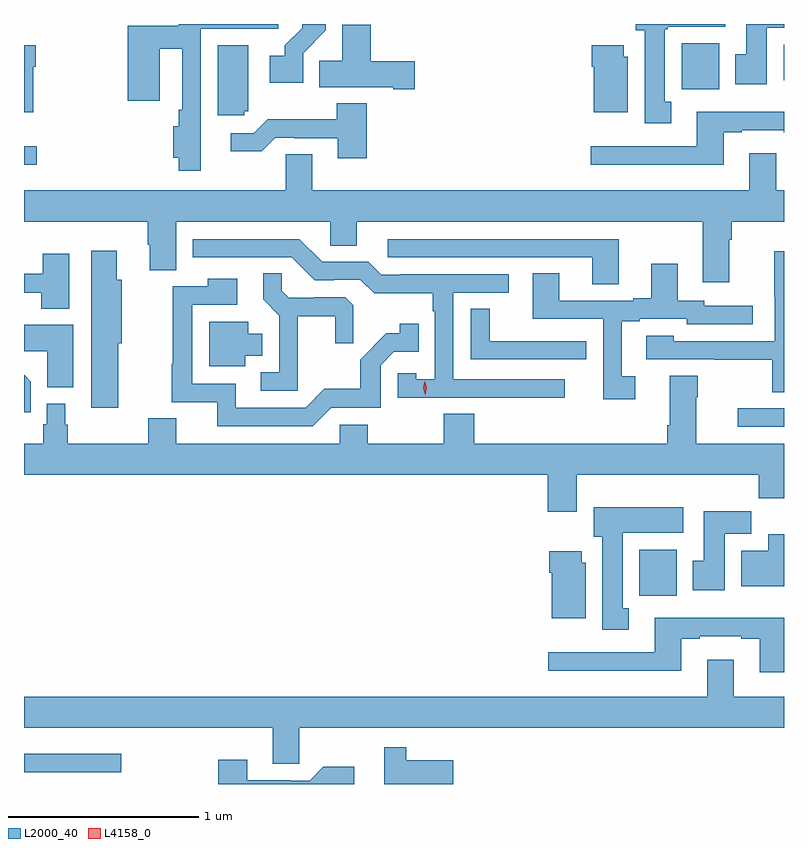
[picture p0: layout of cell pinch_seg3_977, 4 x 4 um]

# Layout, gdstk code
import gdstk
lib = gdstk.Library(unit=1e-6, precision=1e-09)
def R(c, l, rs):  # rectangles x0, y0, x1, y1
    for r in rs: c.add(gdstk.rectangle(r[:2], r[2:], *l))
def P(c, l, *ps):  # polygons
    for p in ps: c.add(gdstk.Polygon(p, *l))
L2000_40 = (2000, 40)
L4158_0 = (4158, 0)

pinch_seg3_977 = lib.new_cell('pinch_seg3_977')
R(pinch_seg3_977, L2000_40, [(467.595,735.315,468.106,735.412), (470.834,736.244,471.031,736.486), (471.351,737.133,471.595,737.229), (467.595,738.512,467.662,738.609), (471.056,738.908,471.253,739.15), (471.593,738.956,471.595,739.144)])
P(pinch_seg3_977, L2000_40, [(471.505,739.232),(471.595,739.232),(471.595,739.252),(471.395,739.252),(471.395,739.092),(471.338,739.092),(471.338,738.936),(471.505,738.936)],
  [(469.065,739.099),(469.184,739.218),(469.184,739.252),(469.059,739.252),(469.059,739.229),(468.968,739.139),(468.968,739.084),(468.888,739.084),(468.888,738.944),(469.065,738.944)],
  [(471.001,738.842),(470.968,738.842),(470.968,739.225),(470.982,739.225),(470.982,739.238),(471.286,739.238),(471.286,739.252),(470.816,739.252),(470.816,739.218),(470.861,739.218),(470.861,738.729),(471.001,738.729)],
  [(468.526,738.702),(468.525,738.702),(468.525,739.227),(468.934,739.227),(468.934,739.252),(468.409,739.252),(468.409,739.243),(468.14,739.243),(468.14,738.849),(468.31,738.849),(468.31,739.122),(468.429,739.122),(468.429,738.802),(468.409,738.802),(468.409,738.714),(468.38,738.714),(468.38,738.548),(468.409,738.548),(468.409,738.48),(468.526,738.48)],
  [(469.651,739.055),(469.421,739.055),(469.421,739.249),(469.271,739.249),(469.271,739.058),(469.15,739.058),(469.15,738.92),(469.538,738.92),(469.538,738.908),(469.651,738.908)],
  [(467.644,739.028),(467.657,739.028),(467.657,739.141),(467.595,739.141),(467.595,738.788),(467.644,738.788)],
  [(470.773,739.08),(470.752,739.08),(470.752,739.141),(470.582,739.141),(470.582,739.028),(470.594,739.028),(470.594,738.788),(470.773,738.788)],
  [(468.753,738.792),(468.775,738.792),(468.775,739.141),(468.614,739.141),(468.614,738.771),(468.753,738.771)],
  [(469.4,738.835),(469.24,738.835),(469.24,738.751),(468.877,738.751),(468.804,738.678),(468.684,738.678),(468.684,738.581),(468.845,738.581),(468.918,738.654),(469.018,738.654),(469.018,738.651),(469.247,738.651),(469.247,738.546),(469.4,738.546)],
  [(471.277,738.681),(471.373,738.681),(471.373,738.693),(471.593,738.693),(471.593,738.681),(471.595,738.681),(471.595,738.79),(471.137,738.79),(471.137,738.609),(470.577,738.609),(470.577,738.512),(471.277,738.512)],
  [(471.307,738.116),(471.32,738.116),(471.32,738.212),(471.595,738.212),(471.595,738.376),(471.553,738.376),(471.553,738.571),(471.413,738.571),(471.413,738.376),(469.111,738.376),(469.111,738.566),(468.972,738.566),(468.972,738.376),(467.595,738.376),(467.595,738.212),(468.245,738.212),(468.245,738.09),(468.257,738.09),(468.257,737.956),(468.397,737.956),(468.397,738.212),(469.206,738.212),(469.206,738.085),(469.345,738.085),(469.345,738.212),(471.167,738.212),(471.167,737.892),(471.307,737.892)],
  [(470.44,737.382),(469.854,737.382),(469.854,737.838),(470.146,737.838),(470.146,737.934),(469.576,737.934),(469.576,737.931),(469.476,737.931),(469.407,738),(469.164,738),(469.044,738.12),(468.482,738.12),(468.482,738.024),(469.005,738.024),(469.125,737.904),(469.226,737.904),(469.226,737.907),(469.365,737.907),(469.438,737.834),(469.746,737.834),(469.746,737.741),(469.758,737.741),(469.758,737.383),(469.659,737.383),(469.659,737.415),(469.563,737.415),(469.563,737.286),(470.047,737.286),(470.047,737.284),(470.44,737.284)],
  [(470.725,738.12),(469.509,738.12),(469.509,738.024),(470.585,738.024),(470.585,737.881),(470.725,737.881)],
  [(468.09,737.571),(468.109,737.571),(468.109,737.907),(468.082,737.907),(468.082,738.058),(467.948,738.058),(467.948,737.232),(468.09,737.232)],
  [(471.595,738.055),(471.544,738.055),(471.544,737.816),(471.546,737.816),(471.546,737.583),(471.015,737.583),(471.015,737.611),(470.871,737.611),(470.871,737.487),(471.229,737.487),(471.229,737.485),(471.534,737.485),(471.534,737.314),(471.595,737.314)],
  [(467.833,738.043),(467.693,738.043),(467.693,737.937),(467.595,737.937),(467.595,737.838),(467.686,737.838),(467.686,737.753),(467.833,737.753)],
  [(470.812,737.397),(470.74,737.397),(470.74,737.688),(470.836,737.688),(470.836,737.7),(471.084,737.7),(471.084,737.673),(471.43,737.673),(471.43,737.769),(471.174,737.769),(471.174,737.796),(471.037,737.796),(471.037,737.989),(470.897,737.989),(470.897,737.809),(470.801,737.809),(470.801,737.796),(470.413,737.796),(470.413,737.939),(470.273,737.939),(470.273,737.7),(470.643,737.7),(470.643,737.277),(470.812,737.277)],
  [(469.037,737.714),(469.234,737.714),(469.234,737.571),(469.328,737.571),(469.328,737.773),(469.287,737.814),(469.122,737.814),(469.122,737.811),(468.988,737.811),(468.951,737.848),(468.951,737.939),(468.853,737.939),(468.853,737.803),(468.939,737.717),(468.939,737.418),(468.84,737.418),(468.84,737.322),(469.037,737.322)],
  [(469.212,737.232),(469.473,737.232),(469.473,737.457),(469.542,737.526),(469.673,737.526),(469.673,737.674),(469.572,737.674),(469.572,737.624),(469.502,737.624),(469.365,737.486),(469.365,737.331),(469.176,737.331),(469.077,737.232),(468.709,737.232),(468.709,737.358),(468.48,737.358),(468.48,737.775),(468.718,737.775),(468.718,737.911),(468.562,737.911),(468.562,737.871),(468.379,737.871),(468.379,737.465),(468.372,737.465),(468.372,737.262),(468.611,737.262),(468.611,737.136),(469.116,737.136)],
  [(470.554,737.582),(470.441,737.582),(470.441,737.583),(470.046,737.583),(470.046,737.753),(469.947,737.753),(469.947,737.487),(470.554,737.487)],
  [(468.76,737.507),(468.85,737.507),(468.85,737.623),(468.775,737.623),(468.775,737.686),(468.569,737.686),(468.569,737.45),(468.76,737.45)],
  [(467.854,737.668),(467.596,737.668),(467.596,737.53),(467.717,737.53),(467.717,737.339),(467.854,737.339)],
  [(467.63,737.37),(467.595,737.405),(467.595,737.208),(467.63,737.208)],
  [(470.503,736.88),(471.463,736.88),(471.463,736.756),(471.595,736.756),(471.595,737.044),(471.133,737.044),(471.133,737.288),(471.141,737.288),(471.141,737.401),(470.993,737.401),(470.993,737.14),(470.981,737.14),(470.981,737.044),(469.964,737.044),(469.964,737.201),(469.804,737.201),(469.804,737.044),(469.404,737.044),(469.404,737.142),(469.257,737.142),(469.257,737.044),(468.397,737.044),(468.397,737.177),(468.25,737.177),(468.25,737.044),(467.824,737.044),(467.824,737.144),(467.812,737.144),(467.812,737.254),(467.715,737.254),(467.715,737.145),(467.695,737.145),(467.695,737.044),(467.595,737.044),(467.595,736.88),(470.351,736.88),(470.351,736.686),(470.503,736.686)],
  [(470.779,736.178),(470.746,736.178),(470.746,736.574),(471.064,736.574),(471.064,736.708),(470.594,736.708),(470.594,736.554),(470.639,736.554),(470.639,736.065),(470.779,736.065)],
  [(471.283,736.568),(471.422,736.568),(471.422,736.687),(471.173,736.687),(471.173,736.428),(471.116,736.428),(471.116,736.272),(471.283,736.272)],
  [(471.595,736.567),(471.512,736.567),(471.512,736.48),(471.371,736.48),(471.371,736.292),(471.595,736.292)],
  [(470.551,736.416),(470.53,736.416),(470.53,736.477),(470.36,736.477),(470.36,736.364),(470.372,736.364),(470.372,736.124),(470.551,736.124)],
  [(471.595,736.126),(470.915,736.126),(470.915,735.945),(470.355,735.945),(470.355,735.848),(471.055,735.848),(471.055,736.017),(471.151,736.017),(471.151,736.029),(471.371,736.029),(471.371,736.017),(471.467,736.017),(471.467,735.84),(471.595,735.84)],
  [(469.044,735.548),(471.595,735.548),(471.595,735.712),(471.331,735.712),(471.331,735.907),(471.191,735.907),(471.191,735.712),(467.595,735.712),(467.595,735.548),(468.905,735.548),(468.905,735.358),(469.044,735.358)],
  [(469.855,735.376),(469.607,735.376),(469.607,735.445),(469.49,735.445),(469.49,735.252),(469.855,735.252)],
  [(469.333,735.343),(469.171,735.343),(469.098,735.27),(468.998,735.27),(468.998,735.273),(468.769,735.273),(468.769,735.379),(468.617,735.379),(468.617,735.252),(469.333,735.252)])
P(pinch_seg3_977, L4158_0, [(469.706,737.301),(469.706,737.302),(469.695,737.337),(469.703,737.373),(469.704,737.373),(469.704,737.373),(469.715,737.338),(469.706,737.302)])

lib.write_gds('pinch_seg3_977.gds')
